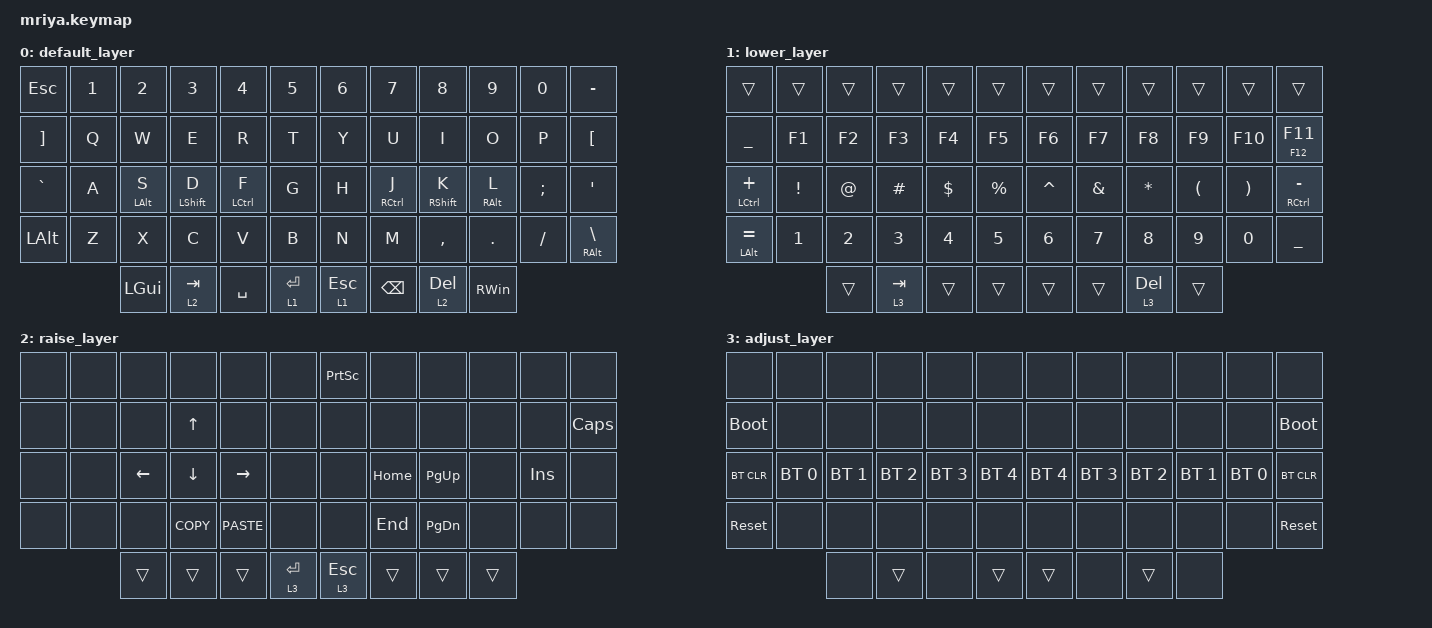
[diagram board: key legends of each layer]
/*
 * Copyright (c) 2023 Andrei Gaevskii
 *
 * SPDX-License-Identifier: MIT
 */

#include <behaviors.dtsi>
#include <dt-bindings/zmk/bt.h>
#include <dt-bindings/zmk/keys.h>

#define DEF 0
#define LWR 1
#define RSE 2
#define ADJ 3

&lt { quick_tap_ms = <200>; };

&mt {
    quick_tap_ms = <0>;
    tapping-term-ms = <200>;
    quick-tap-ms = <0>;
    flavor = "balanced";
};

/ {
    keymap {
        compatible = "zmk,keymap";

        default_layer {
            bindings = <
  &kp ESCAPE         &kp N1  &kp N2          &kp N3            &kp N4       &kp N5       &kp N6     &kp N7       &kp N8             &kp N9           &kp N0    &kp MINUS
  &kp RIGHT_BRACKET  &kp Q   &kp W           &kp E             &kp R        &kp T        &kp Y      &kp U        &kp I              &kp O            &kp P     &kp LBKT
  &kp GRAVE          &kp A   &mt LEFT_ALT S  &mt LEFT_SHIFT D  &mt LCTRL F  &kp G        &kp H      &mt RCTRL J  &mt RIGHT_SHIFT K  &mt RIGHT_ALT L  &kp SEMI  &kp SQT
  &kp LALT           &kp Z   &kp X           &kp C             &kp V        &kp B        &kp N      &kp M        &kp COMMA          &kp DOT          &kp FSLH  &mt RALT BSLH
                             &kp LGUI        &lt 2 TAB         &kp SPACE    &lt 1 RET    &lt 1 ESC  &kp BSPC     &lt 2 DEL          &kp RIGHT_WIN
            >;
        };

        lower_layer {
            bindings = <
  &trans          &trans    &trans  &trans     &trans    &trans       &trans     &trans    &trans     &trans    &trans    &trans
  &kp UNDER       &kp F1    &kp F2  &kp F3     &kp F4    &kp F5       &kp F6     &kp F7    &kp F8     &kp F9    &kp F10   &mt F12 F11
  &mt LCTRL PLUS  &kp EXCL  &kp AT  &kp HASH   &kp DLLR  &kp PRCNT    &kp CARET  &kp AMPS  &kp STAR   &kp LPAR  &kp RPAR  &mt RCTRL MINUS
  &mt LALT EQUAL  &kp N1    &kp N2  &kp N3     &kp N4    &kp N5       &kp N6     &kp N7    &kp N8     &kp N9    &kp N0    &kp UNDER
                            &trans  &lt 3 TAB  &trans    &trans       &trans     &trans    &lt 3 DEL  &trans
            >;
        };

        raise_layer {
            bindings = <
  &none  &none  &none           &none           &none        &none        &kp PRINTSCREEN  &none     &none          &none   &none    &none
  &none  &none  &none           &kp UP_ARROW    &none        &none        &none            &none     &none          &none   &none    &kp CAPS
  &none  &none  &kp LEFT_ARROW  &kp DOWN_ARROW  &kp RIGHT    &none        &none            &kp HOME  &kp PG_UP      &none   &kp INS  &none
  &none  &none  &none           &kp K_COPY      &kp K_PASTE  &none        &none            &kp END   &kp PAGE_DOWN  &none   &none    &none
                &trans          &trans          &trans       &lt 3 RET    &lt 3 ESC        &trans    &trans         &trans
            >;
        };

        adjust_layer {
            bindings = <
  &none        &none         &none         &none         &none         &none           &none         &none         &none         &none         &none         &none
  &bootloader  &none         &none         &none         &none         &none           &none         &none         &none         &none         &none         &bootloader
  &bt BT_CLR   &bt BT_SEL 0  &bt BT_SEL 1  &bt BT_SEL 2  &bt BT_SEL 3  &bt BT_SEL 4    &bt BT_SEL 4  &bt BT_SEL 3  &bt BT_SEL 2  &bt BT_SEL 1  &bt BT_SEL 0  &bt BT_CLR
  &sys_reset   &none         &none         &none         &none         &none           &none         &none         &none         &none         &none         &sys_reset
                             &none         &trans        &none         &trans          &trans        &none         &trans        &none
            >;
        };
    };
};
